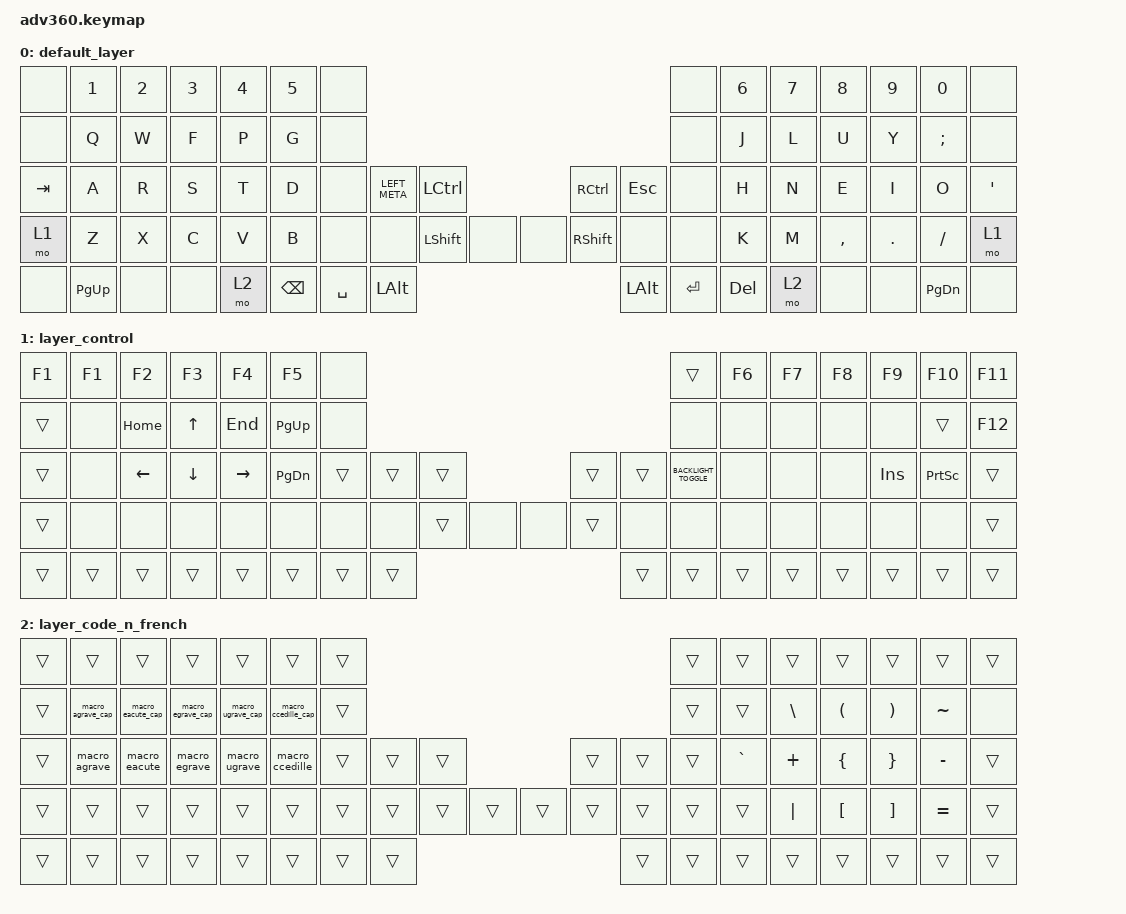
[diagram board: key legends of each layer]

/*
 * Copyright (c) 2020 The ZMK Contributors
 *
 * SPDX-License-Identifier: MIT
 */


/* THIS FILE WAS GENERATED!
 *
 * This file was generated automatically. You may or may not want to
 * edit it directly.
 */

#include <behaviors.dtsi>
#include <dt-bindings/zmk/keys.h>

/ {
  behaviors {
    #include "macros.dtsi"

    hm: homerow_mods {
        compatible = "zmk,behavior-hold-tap";
        label = "HOMEROW_MODS";
        #binding-cells = <2>;
        tapping-term-ms = <200>;
        quick_tap_ms = <175>;
        flavor = "tap-preferred";
        bindings = <&kp>, <&kp>;
    };
  };

    keymap {
        compatible = "zmk,keymap";


        default_layer {
            bindings = <
   &none       &kp N1  &kp N2  &kp N3  &kp N4  &kp N5               &none                                                                                   &none  &kp N6  &kp N7     &kp N8   &kp N9         &kp N0             &none
   &none        &kp Q   &kp W   &kp F   &kp P   &kp G               &none                                                                                   &none   &kp J   &kp L      &kp U    &kp Y  &kp SEMICOLON             &none
 &kp TAB        &kp A   &kp R   &kp S   &kp T   &kp D               &none  &kp LEFT_META       &kp LCTRL                        &kp RCTRL  &kp ESCAPE       &none   &kp H   &kp N      &kp E    &kp I          &kp O  &kp SINGLE_QUOTE
   &mo 1        &kp Z   &kp X   &kp C   &kp V   &kp B               &none          &none  &kp LEFT_SHIFT   &none   &none  &kp RIGHT_SHIFT       &none       &none   &kp K   &kp M  &kp COMMA  &kp DOT       &kp FSLH             &mo 1
   &none  &kp PAGE_UP   &none   &none   &mo 2                    &kp BSPC      &kp SPACE        &kp LALT                     &kp LEFT_ALT   &kp ENTER  &kp DELETE           &mo 2      &none    &none  &kp PAGE_DOWN             &none
            >;
        };

        layer_control {
            bindings = <
 &kp F1  &kp F1          &kp F2          &kp F3           &kp F4     &kp F5             &none                                                                  &trans  &kp F6  &kp F7  &kp F8      &kp F9          &kp F10  &kp F11
 &trans   &none        &kp HOME    &kp UP_ARROW          &kp END  &kp PG_UP             &none                                                                   &none   &none   &none   &none       &none           &trans  &kp F12
 &trans   &none  &kp LEFT_ARROW  &kp DOWN_ARROW  &kp RIGHT_ARROW  &kp PG_DN            &trans  &trans  &trans                  &trans  &trans  &kp C_BACKLIGHT_TOGGLE   &none   &none   &none  &kp INSERT  &kp PRINTSCREEN   &trans
 &trans   &none           &none           &none            &none      &none             &none   &none  &trans   &none   &none  &trans   &none                   &none   &none   &none   &none       &none            &none   &trans
 &trans  &trans          &trans          &trans           &trans                       &trans  &trans  &trans                  &trans  &trans                  &trans          &trans  &trans      &trans           &trans   &trans
            >;
        };

        layer_code_n_french {
            bindings = <
 &trans             &trans             &trans             &trans             &trans               &trans            &trans                                                  &trans     &trans         &trans                &trans                 &trans     &trans  &trans
 &trans  &macro_agrave_cap  &macro_eacute_cap  &macro_egrave_cap  &macro_ugrave_cap  &macro_ccedille_cap            &trans                                                  &trans     &trans  &kp BACKSLASH  &kp LEFT_PARENTHESIS  &kp RIGHT_PARENTHESIS  &kp TILDE   &none
 &trans      &macro_agrave      &macro_eacute      &macro_egrave      &macro_ugrave      &macro_ccedille            &trans  &trans  &trans                  &trans  &trans  &trans  &kp GRAVE       &kp PLUS        &kp LEFT_BRACE        &kp RIGHT_BRACE  &kp MINUS  &trans
 &trans             &trans             &trans             &trans             &trans               &trans            &trans  &trans  &trans  &trans  &trans  &trans  &trans  &trans     &trans       &kp PIPE      &kp LEFT_BRACKET      &kp RIGHT_BRACKET  &kp EQUAL  &trans
 &trans             &trans             &trans             &trans             &trans                                 &trans  &trans  &trans                  &trans  &trans  &trans                    &trans                &trans                 &trans     &trans  &trans
            >;
        };

    };
};
